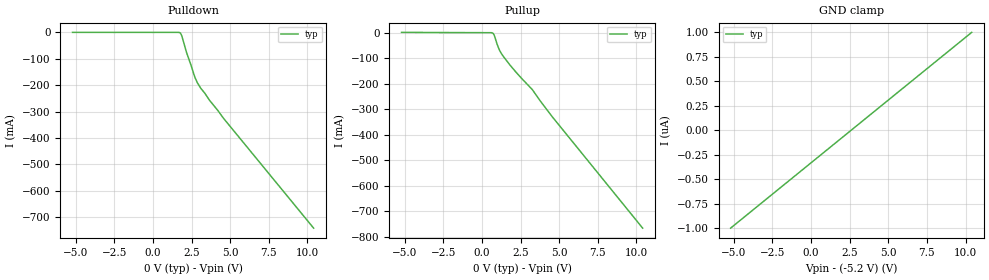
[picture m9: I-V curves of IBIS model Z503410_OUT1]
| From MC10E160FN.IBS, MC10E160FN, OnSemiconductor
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| (C) COPYRIGHT 1993-2000
| MENTOR GRAPHICS CORPORATION
| ICX STANDARD LIBRARY, ICX PROJECT MODELING,
| ICX CUSTOM MODELING, ICX VENDOR MODEL
| ALL RIGHTS RESERVED.
| THE FOLLOWING ARE TRADEMARKS OR SERVICE MARKS OF
| MENTOR GRAPHICS CORPORATION:ICX (R), ICX STANDARD
| LIBRARY(R), ICX PROJECT MODELING(R), ICX CUSTOM
| MODELING(R), qualityIBIS(TM), MODELVIEWER(TM),
| AND MODELEDITOR(TM)
| ALL COPIES OF SOFTWARE, INCLUDING BUT NOT LIMITED TO
| ANY MODIFICATIONS, ENHANCEMENTS OR DERIVATIVE WORKS,
| MUST CONTAIN ALL MENTOR GRAPHICS CORPORATION'S
| NOTICES AND LEGENDS, INCLUDING THOSE EMBEDDED IN
| SOFTWARE AND THOSE AFFIXED TO SOFTWARE MEDIUM
| AND CONTAINER, AS RECEIVED FROM MENTOR GRAPHICS
| CORPORATION.
| Model Application Version 1.89 2/18/99.
[Model] Z503410_OUT1
Model_type Output_ECL
Vref=-2.000V
Rref=50.00ohms
Cref=0.000F
Vmeas=-1.305V
C_comp 8.000pF NA NA
| variable typ   min   max
[Voltage Range] -5.200V NA NA
[POWER Clamp Reference] 0.000V NA NA
[Pullup Reference] 0.000V NA NA
[Pulldown Reference] 0.000V NA NA
[GND Clamp Reference] -5.200V NA NA
[GND Clamp]
-5.2V     -1uA       NA         NA
10.4V     1uA        NA         NA
[Pulldown]
-5.2V     121.8uA    NA         NA
1.626V    92.93uA    NA         NA
1.783V    -2.392mA   NA         NA
1.87V     -12.54mA   NA         NA
2.179V    -76.3mA    NA         NA
2.485V    -127.1mA   NA         NA
2.734V    -172.5mA   NA         NA
2.876V    -190.5mA   NA         NA
3.092V    -211.2mA   NA         NA
4.561V    -325mA     NA         NA
10.4V     -742.1mA   NA         NA
[Pullup]
-5.2V     1.158mA    NA         NA
567.8mV   -30.36uA   NA         NA
727.2mV   -2.643mA   NA         NA
830mV     -15.58mA   NA         NA
977mV     -43.96mA   NA         NA
1.115V    -65.84mA   NA         NA
1.401V    -94.39mA   NA         NA
2.231V    -156.5mA   NA         NA
3.261V    -222.9mA   NA         NA
4.556V    -329.6mA   NA         NA
10.4V     -765.3mA   NA         NA
[POWER Clamp]
-5.2V     0A         NA         NA
10.4V     0A         NA         NA
[Ramp]
| variable typ min max
dV/dt_r 599.0m/360.2p NA NA
dV/dt_f 599.0m/343.1p NA NA
R_load = 500.0Ohms
